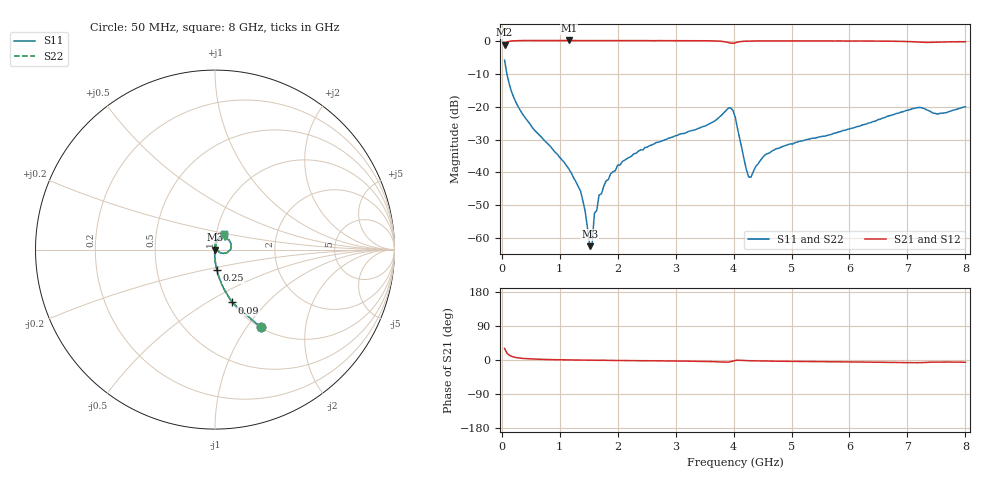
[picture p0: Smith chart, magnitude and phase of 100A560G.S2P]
!  American Technical Ceramics  Date:  3/13/98
!  One Norden Lane
!  Huntington Station,  NY.  11746-2102
!  Tel:  (516) 547-5700  Fax:  (516) 547-5748
!  Part Number  100A560G
!  Description: Porcelain, High Q, Low ESR
!  Application: Bypass, Coupling, Timing, Feedback
!  Tuning, Impedance Match, Blocking
# GHZ S DB R 50
! Freq  |S11|  S11 Ph  |S21|  S21 Ph  |S12|  S12 Ph  |S22|  S22 Ph
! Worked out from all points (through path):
!   201 points, 50 MHz to 8 GHz, reference 50 ohm
!   highest |S21| = 0.02 dB at 1.16 GHz (marker M1); lowest = -1.3 dB at 50 MHz (marker M2)
!   group delay of S21, straight-line fit = 3.77 ps
!   lowest |S11| = -62.3 dB at 1.52 GHz (marker M3), VSWR 1.00, Z = 49.9 - j0.0126 ohm
!   |S11| at or under -10 dB: 88.11 MHz to end of sweep
!   |S22| runs from -62.3 to -6.0 dB; largest |S21 - S12| = 0
!   S11 on the Smith chart (normalised r, x): 50 MHz: 1.01, -1.17; 90 MHz: 1.00, -0.65; 250 MHz: 1.00, -0.23; 8 GHz: 1.09, +0.19
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0.05  -5.96 -59.5  -1.26 30.5  -1.26 30.5  -5.96 -59.5
0.09  -10.20 -72.1  -0.43 18.1  -0.43 18.1  -10.20 -72.1
0.25  -18.88 -84.7  -0.05 6.4  -0.05 6.4  -18.88 -84.7
1.16  -38.97 -97.7  0.02 0.2  0.02 0.2  -38.97 -97.7
1.4  -48.61 -102.7  -0.01 -0.2  -0.01 -0.2  -48.61 -102.7
1.52  -62.33 -170.5  0.00 -0.5  0.00 -0.5  -62.33 -170.5
1.56  -61.58 150.8  0.00 -0.6  0.00 -0.6  -61.58 150.8
1.6  -52.29 103.2  0.00 -0.7  0.00 -0.7  -52.29 103.2
1.64  -51.49 92.2  -0.01 -0.8  -0.01 -0.8  -51.49 92.2
1.68  -46.81 97.5  -0.02 -0.8  -0.02 -0.8  -46.81 97.5
1.88  -40.37 87.7  0.00 -1.1  0.00 -1.1  -40.37 87.7
2.71  -30.81 81.4  -0.03 -2.4  -0.03 -2.4  -30.81 81.4
3.51  -25.92 73.2  -0.07 -3.9  -0.07 -3.9  -25.92 73.2
3.91  -20.50 34.6  -0.62 -5.6  -0.62 -5.6  -20.50 34.6
4.03  -23.28 -14.7  -0.70 -1.1  -0.70 -1.1  -23.28 -14.7
4.26  -41.34 14.9  -0.15 -1.9  -0.15 -1.9  -41.34 14.9
4.54  -34.72 80.8  -0.09 -2.6  -0.09 -2.6  -34.72 80.8
5.38  -29.59 86.8  -0.10 -4.2  -0.10 -4.2  -29.59 86.8
6.69  -22.79 71.5  -0.20 -6.2  -0.20 -6.2  -22.79 71.5
7.17  -20.35 53.0  -0.43 -7.1  -0.43 -7.1  -20.35 53.0
7.52  -22.30 47.6  -0.49 -5.2  -0.49 -5.2  -22.30 47.6
8  -20.09 59.3  -0.36 -5.9  -0.36 -5.9  -20.09 59.3
